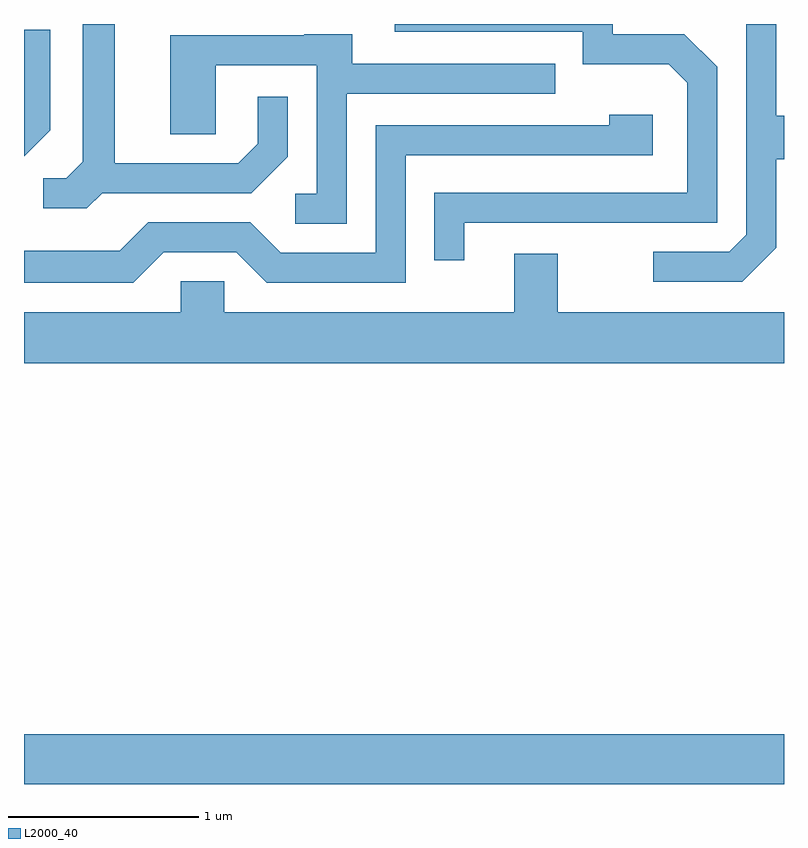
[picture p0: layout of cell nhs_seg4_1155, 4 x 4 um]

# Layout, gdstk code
import gdstk
lib = gdstk.Library(unit=1e-6, precision=1e-09)
def R(c, l, rs):  # rectangles x0, y0, x1, y1
    for r in rs: c.add(gdstk.rectangle(r[:2], r[2:], *l))
def P(c, l, *ps):  # polygons
    for p in ps: c.add(gdstk.Polygon(p, *l))
L2000_40 = (2000, 40)

nhs_seg4_1155 = lib.new_cell('nhs_seg4_1155')
R(nhs_seg4_1155, L2000_40, [(217.611,1387.982,221.611,1388.244)])
P(nhs_seg4_1155, L2000_40, [(218.022,1391.091),(218.807,1391.091),(218.999,1391.284),(218.999,1391.598),(218.841,1391.598),(218.841,1391.352),(218.739,1391.249),(218.089,1391.249),(218.089,1391.982),(217.921,1391.982),(217.921,1391.257),(217.834,1391.169),(217.713,1391.169),(217.713,1391.011),(217.942,1391.011)],
  [(219.929,1390.936),(221.259,1390.936),(221.259,1391.757),(221.087,1391.929),(220.709,1391.929),(220.709,1391.982),(219.561,1391.982),(219.561,1391.941),(220.551,1391.941),(220.551,1391.771),(221.004,1391.771),(221.101,1391.674),(221.101,1391.094),(219.771,1391.094),(219.771,1390.738),(219.929,1390.738)],
  [(221.569,1390.804),(221.569,1391.271),(221.611,1391.271),(221.611,1391.499),(221.569,1391.499),(221.569,1391.982),(221.411,1391.982),(221.411,1390.872),(221.324,1390.784),(220.923,1390.784),(220.923,1390.626),(221.392,1390.626)],
  [(217.749,1391.424),(217.749,1391.953),(217.611,1391.953),(217.611,1391.286)],
  [(219.309,1391.616),(220.408,1391.616),(220.408,1391.774),(219.339,1391.774),(219.339,1391.929),(219.085,1391.929),(219.085,1391.924),(218.381,1391.924),(218.381,1391.401),(218.619,1391.401),(218.619,1391.766),(219.151,1391.766),(219.151,1391.089),(219.038,1391.089),(219.038,1390.931),(219.309,1390.931)],
  [(218.347,1390.781),(218.729,1390.781),(218.889,1390.621),(219.619,1390.621),(219.619,1391.291),(220.919,1391.291),(220.919,1391.504),(220.691,1391.504),(220.691,1391.449),(219.461,1391.449),(219.461,1390.779),(218.962,1390.779),(218.802,1390.939),(218.264,1390.939),(218.114,1390.789),(217.611,1390.789),(217.611,1390.621),(218.187,1390.621)],
  [(221.611,1390.464),(220.419,1390.464),(220.419,1390.774),(220.191,1390.774),(220.191,1390.464),(218.664,1390.464),(218.664,1390.629),(218.436,1390.629),(218.436,1390.464),(217.611,1390.464),(217.611,1390.196),(221.611,1390.196)])

lib.write_gds('nhs_seg4_1155.gds')
